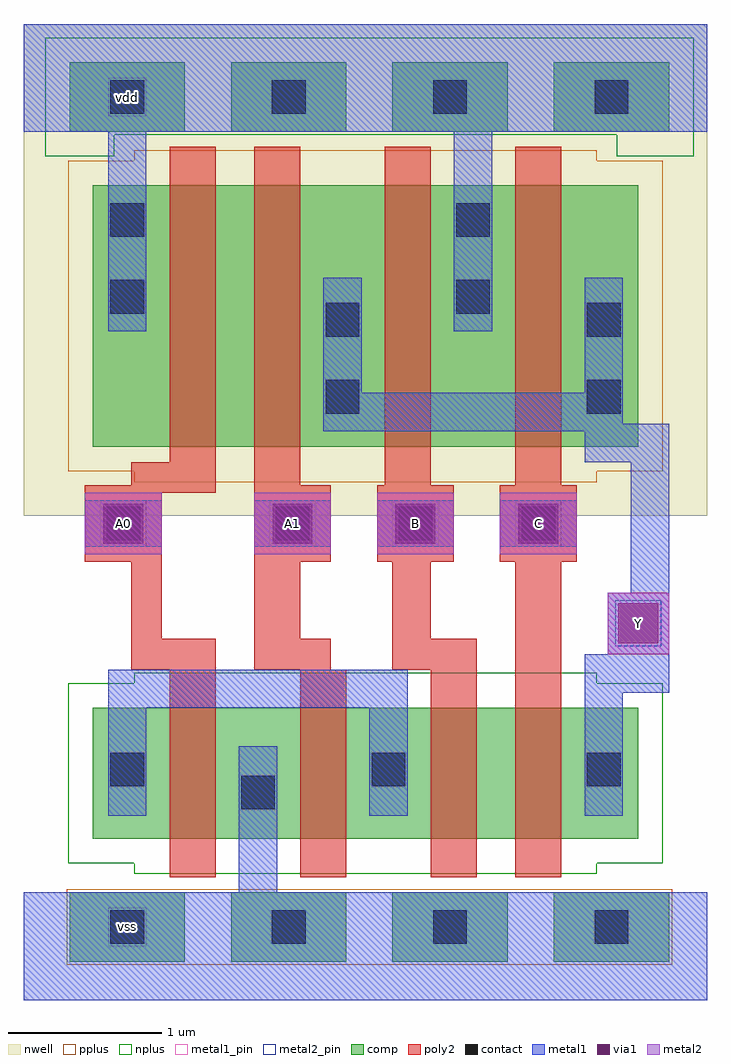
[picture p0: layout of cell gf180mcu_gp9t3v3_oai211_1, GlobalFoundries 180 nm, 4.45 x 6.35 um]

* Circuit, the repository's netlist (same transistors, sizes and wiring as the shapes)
* NGSPICE file created from gf180mcu_gp9t3v3_oai211_1.ext - technology: gf180mcuD

.subckt gf180mcu_gp9t3v3_oai211_1 A0 A1 B C Y vdd vss
X0 Y C vdd vdd pfet_03v3 ad=0.85p pd=4.4u as=0.4675p ps=2.25u w=1.7u l=0.3u
X1 a_n350_150# A0 vdd vdd pfet_03v3 ad=0.2125p pd=1.95u as=0.85p ps=4.4u w=1.7u l=0.3u
X2 a_n510_n360# A1 vss vss nfet_03v3 ad=0.23375p pd=1.4u as=0.23375p ps=1.4u w=0.85u l=0.3u
X3 Y C a_n10_n360# vss nfet_03v3 ad=0.425p pd=2.7u as=0.10625p ps=1.1u w=0.85u l=0.3u
X4 Y A1 a_n350_150# vdd pfet_03v3 ad=0.4675p pd=2.25u as=0.2125p ps=1.95u w=1.7u l=0.3u
X5 vdd B Y vdd pfet_03v3 ad=0.4675p pd=2.25u as=0.4675p ps=2.25u w=1.7u l=0.3u
X6 vss A0 a_n510_n360# vss nfet_03v3 ad=0.23375p pd=1.4u as=0.425p ps=2.7u w=0.85u l=0.3u
X7 a_n10_n360# B a_n510_n360# vss nfet_03v3 ad=0.10625p pd=1.1u as=0.23375p ps=1.4u w=0.85u l=0.3u
.ends

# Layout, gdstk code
import gdstk
lib = gdstk.Library(unit=1e-6, precision=1e-09)
def R(c, l, rs):  # rectangles x0, y0, x1, y1
    for r in rs: c.add(gdstk.rectangle(r[:2], r[2:], *l))
def A(c, l, x, y, w, h, nx, ny, dx, dy):  # array of equal rectangles
    R(c, l, [(x+i*dx, y+j*dy, x+i*dx+w, y+j*dy+h) for i in range(nx) for j in range(ny)])
nwell = (21, 0)
comp = (22, 0)
poly2 = (30, 0)
pplus = (31, 0)
nplus = (32, 0)
contact = (33, 0)
metal1 = (34, 0)
metal1_pin = (34, 10)
via1 = (35, 0)
metal2 = (36, 0)
metal2_pin = (36, 10)

gf180mcu_gp9t3v3_oai211_ = lib.new_cell('gf180mcu_gp9t3v3_oai211_1')
R(gf180mcu_gp9t3v3_oai211_, nwell, [(-3,0.2,1.45,3.4)])
A(gf180mcu_gp9t3v3_oai211_, comp, -2.7, -2.7, 0.75, 0.45, 4, 2, 1.05, 5.4)
R(gf180mcu_gp9t3v3_oai211_, comp, [(-2.55,-1.9,1,-1.05), (-2.55,0.65,1,2.35)])
A(gf180mcu_gp9t3v3_oai211_, poly2, -2.05, -2.15, 0.3, 1.35, 3, 1, 0.85, 0)
A(gf180mcu_gp9t3v3_oai211_, poly2, -1.5, -0.1, 0.5, 0.5, 3, 1, 0.8, 0)
A(gf180mcu_gp9t3v3_oai211_, poly2, -1.5, 0.4, 0.3, 2.2, 3, 1, 0.85, 0)
R(gf180mcu_gp9t3v3_oai211_, poly2, [(0.2,-2.15,0.5,-0.1), (-2.3,-0.8,-1.75,-0.6), (-1.5,-0.8,-1,-0.6), (-0.6,-0.8,-0.05,-0.6), (-2.3,-0.6,-2.1,-0.1), (-1.5,-0.6,-1.2,-0.1), (-0.6,-0.6,-0.35,-0.1), (-2.6,-0.1,-2.1,0.35), (-2.6,0.35,-1.75,0.4), (-2.3,0.4,-1.75,0.55), (-2.05,0.55,-1.75,2.6)])
R(gf180mcu_gp9t3v3_oai211_, pplus, [(-2.72,-2.72,1.22,-2.23), (-2.28,0.42,0.73,0.49), (-2.71,0.49,1.16,2.51), (-2.28,2.51,0.73,2.58)])
R(gf180mcu_gp9t3v3_oai211_, nplus, [(-2.28,-2.13,0.73,-2.06), (-2.71,-2.06,1.16,-0.89), (-2.28,-0.89,0.73,-0.82), (-2.86,2.54,-2.41,2.68), (0.86,2.54,1.36,2.68), (-2.86,2.68,1.36,3.31)])
A(gf180mcu_gp9t3v3_oai211_, contact, -2.435, -2.585, 0.22, 0.22, 4, 2, 1.05, 5.4)
A(gf180mcu_gp9t3v3_oai211_, contact, -1.36, 0.04, 0.22, 0.22, 3, 1, 0.8, 0)
R(gf180mcu_gp9t3v3_oai211_, contact, [(-1.585,-1.71,-1.365,-1.49), (-2.435,-1.56,-2.215,-1.34), (-0.735,-1.56,-0.515,-1.34), (0.665,-1.56,0.885,-1.34), (-2.46,0.04,-2.24,0.26), (-1.035,0.865,-0.815,1.085), (0.665,0.865,0.885,1.085), (-1.035,1.365,-0.815,1.585), (0.665,1.365,0.885,1.585), (-2.435,1.515,-2.215,1.735), (-0.185,1.515,0.035,1.735), (-2.435,2.015,-2.215,2.235), (-0.185,2.015,0.035,2.235)])
A(gf180mcu_gp9t3v3_oai211_, metal1, -1.5, 0, 0.5, 0.3, 3, 1, 0.8, 0)
R(gf180mcu_gp9t3v3_oai211_, metal1, [(-3,-2.95,1.45,-2.25), (-1.6,-2.25,-1.35,-1.3), (-2.45,-1.75,-2.2,-1.05), (-0.75,-1.75,-0.5,-1.05), (0.65,-1.75,0.9,-0.95), (-2.45,-1.05,-0.5,-0.8), (0.65,-0.95,1.2,-0.7), (0.8,-0.7,1.2,-0.3), (0.95,-0.3,1.2,0.55), (-2.6,0,-2.1,0.3), (0.65,0.55,1.2,0.75), (-1.05,0.75,1.2,0.8), (-1.05,0.8,0.9,1), (-1.05,1,-0.8,1.75), (0.65,1,0.9,1.75), (-2.45,1.4,-2.2,2.7), (-0.2,1.4,0.05,2.7), (-3,2.7,1.45,3.4)])
R(gf180mcu_gp9t3v3_oai211_, metal1_pin, [(-2.45,-2.6,-2.2,-2.35), (-2.45,2.8,-2.2,3.05)])
A(gf180mcu_gp9t3v3_oai211_, via1, -1.38, 0.02, 0.26, 0.26, 3, 1, 0.8, 0)
R(gf180mcu_gp9t3v3_oai211_, via1, [(0.87,-0.63,1.13,-0.37), (-2.48,0.02,-2.22,0.28)])
A(gf180mcu_gp9t3v3_oai211_, metal2, -1.5, -0.05, 0.5, 0.4, 3, 1, 0.8, 0)
R(gf180mcu_gp9t3v3_oai211_, metal2, [(0.8,-0.7,1.2,-0.3), (-2.6,-0.05,-2.1,0.35)])
A(gf180mcu_gp9t3v3_oai211_, metal2_pin, -1.4, 0, 0.3, 0.3, 3, 1, 0.8, 0)
R(gf180mcu_gp9t3v3_oai211_, metal2_pin, [(0.85,-0.65,1.15,-0.35), (-2.5,0,-2.2,0.3)])
gf180mcu_gp9t3v3_oai211_.add(gdstk.Label('A0', (-2.35,0.15), layer=36, texttype=10))
gf180mcu_gp9t3v3_oai211_.add(gdstk.Label('A1', (-1.25,0.15), layer=36, texttype=10))
gf180mcu_gp9t3v3_oai211_.add(gdstk.Label('B', (-0.45,0.15), layer=36, texttype=10))
gf180mcu_gp9t3v3_oai211_.add(gdstk.Label('C', (0.35,0.15), layer=36, texttype=10))
gf180mcu_gp9t3v3_oai211_.add(gdstk.Label('Y', (1,-0.5), layer=36, texttype=10))
gf180mcu_gp9t3v3_oai211_.add(gdstk.Label('vdd', (-2.325,2.925), layer=22, texttype=0))
gf180mcu_gp9t3v3_oai211_.add(gdstk.Label('vss', (-2.325,-2.475), layer=22, texttype=0))

lib.write_gds('gf180mcu_gp9t3v3_oai211_1.gds')
